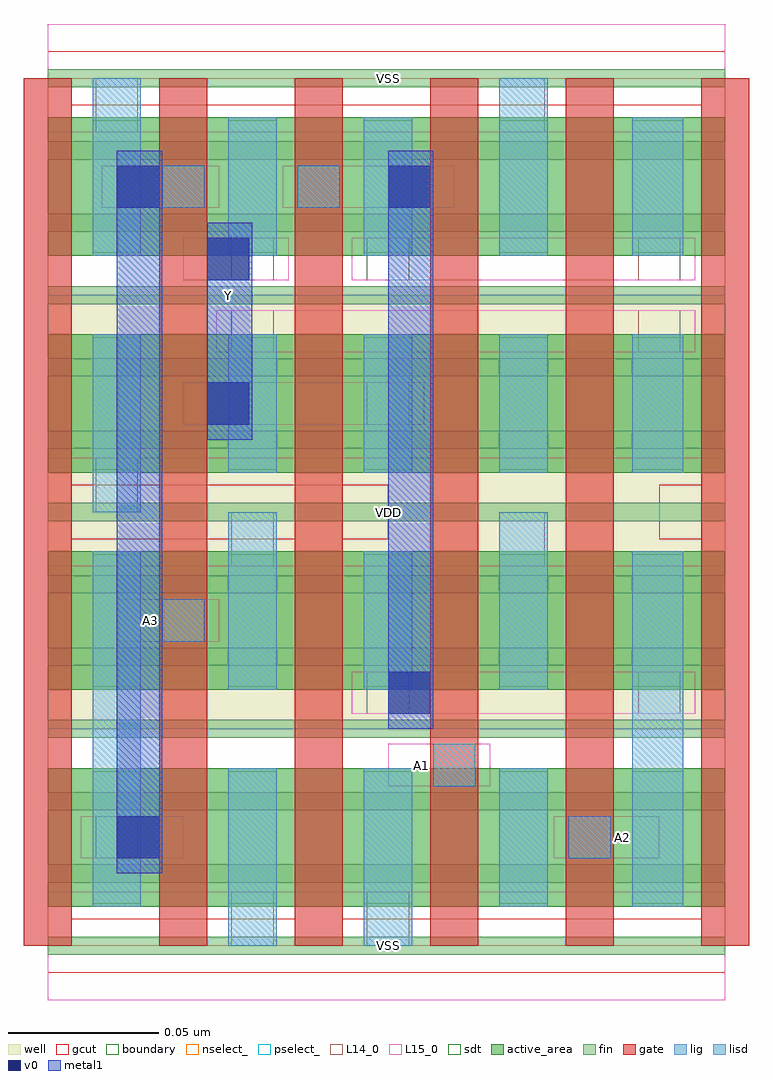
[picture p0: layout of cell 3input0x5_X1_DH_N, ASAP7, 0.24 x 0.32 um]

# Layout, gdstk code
import gdstk
lib = gdstk.Library(unit=1e-6, precision=1e-09)
def R(c, l, rs):  # rectangles x0, y0, x1, y1
    for r in rs: c.add(gdstk.rectangle(r[:2], r[2:], *l))
def A(c, l, x, y, w, h, nx, ny, dx, dy):  # array of equal rectangles
    R(c, l, [(x+i*dx, y+j*dy, x+i*dx+w, y+j*dy+h) for i in range(nx) for j in range(ny)])
def P(c, l, *ps):  # polygons
    for p in ps: c.add(gdstk.Polygon(p, *l))
well = (1, 0)
fin = (2, 0)
gate = (7, 0)
gcut = (10, 0)
active_area = (11, 0)
nselect_ = (12, 0)
pselect_ = (13, 0)
L14_0 = (14, 0)
L15_0 = (15, 0)
lig = (16, 0)
lisd = (17, 0)
v0 = (18, 0)
metal1 = (19, 0)
sdt = (88, 0)
boundary = (100, 0)

c_3input0x5_x1_dh_n = lib.new_cell('3input0x5_X1_DH_N')
R(c_3input0x5_x1_dh_n, well, [(0,0.072,0.225,0.144), (0,0.144,0.225,0.216)])
A(c_3input0x5_x1_dh_n, fin, 0, -0.003, 0.225, 0.006, 1, 13, 0, 0.024)
A(c_3input0x5_x1_dh_n, gate, -0.008, 0, 0.016, 0.288, 6, 1, 0.045, 0)
P(c_3input0x5_x1_dh_n, gcut, [(0,-0.009),(0,0),(-0.008,0),(-0.008,0.135),(0.008,0.135),(0.008,0.009),(0.082,0.009),(0.082,0.135),(-0.008,0.135),(-0.008,0.279),(0.008,0.279),(0.008,0.153),(0.113,0.153),(0.113,0.135),(0.098,0.135),(0.098,0.009),(0.217,0.009),(0.217,0.135),(0.203,0.135),(0.203,0.153),(0.217,0.153),(0.217,0.279),(-0.008,0.279),(-0.008,0.288),(0,0.288),(0,0.297),(0.225,0.297),(0.225,0.288),(0.233,0.288),(0.233,0),(0.225,0),(0.225,-0.009)])
A(c_3input0x5_x1_dh_n, active_area, 0, 0.013, 0.225, 0.046, 1, 4, 0, 0.072)
R(c_3input0x5_x1_dh_n, nselect_, [(0,0,0.225,0.072), (0,0.216,0.225,0.288)])
R(c_3input0x5_x1_dh_n, pselect_, [(0,0.072,0.225,0.144), (0,0.144,0.225,0.216)])
R(c_3input0x5_x1_dh_n, L14_0, [(0.061,0,0.075,0.018), (0.106,0,0.12,0.018), (0.016,0.029,0.03,0.043), (0.173,0.029,0.187,0.043), (0.128,0.053,0.142,0.067), (0.106,0.077,0.12,0.091), (0.196,0.077,0.21,0.091), (0.038,0.101,0.052,0.115), (0.061,0.126,0.075,0.144), (0.15,0.126,0.165,0.144), (0.016,0.144,0.03,0.162), (0.106,0.173,0.12,0.187), (0.061,0.197,0.075,0.211), (0.196,0.197,0.21,0.211), (0.061,0.221,0.075,0.235), (0.106,0.221,0.12,0.235), (0.196,0.221,0.21,0.235), (0.038,0.245,0.052,0.259), (0.083,0.245,0.097,0.259), (0.016,0.27,0.03,0.288), (0.15,0.27,0.165,0.288)])
A(c_3input0x5_x1_dh_n, L15_0, 0, -0.018, 0.225, 0.036, 1, 3, 0, 0.144)
R(c_3input0x5_x1_dh_n, L15_0, [(0.011,0.029,0.045,0.043), (0.168,0.029,0.203,0.043), (0.113,0.053,0.147,0.067), (0.101,0.077,0.215,0.091), (0.023,0.101,0.057,0.115), (0.045,0.173,0.125,0.187), (0.056,0.197,0.215,0.211), (0.045,0.221,0.08,0.235), (0.101,0.221,0.215,0.235), (0.018,0.245,0.057,0.259), (0.078,0.245,0.135,0.259)])
R(c_3input0x5_x1_dh_n, lig, [(0.173,0.029,0.187,0.043), (0.128,0.053,0.142,0.067), (0.038,0.101,0.052,0.115), (0.038,0.245,0.052,0.259), (0.083,0.245,0.097,0.259)])
A(c_3input0x5_x1_dh_n, lisd, 0.06, 0.157, 0.016, 0.046, 3, 1, 0.045, 0)
R(c_3input0x5_x1_dh_n, lisd, [(0.06,0,0.076,0.059), (0.105,0,0.121,0.059), (0.015,0.013,0.031,0.131), (0.15,0.013,0.166,0.059), (0.194,0.013,0.211,0.131), (0.06,0.085,0.076,0.144), (0.105,0.085,0.121,0.131), (0.15,0.085,0.166,0.144), (0.015,0.144,0.031,0.203), (0.194,0.157,0.211,0.203), (0.015,0.229,0.031,0.288), (0.06,0.229,0.076,0.275), (0.105,0.229,0.121,0.275), (0.15,0.229,0.166,0.288), (0.194,0.229,0.211,0.275)])
R(c_3input0x5_x1_dh_n, v0, [(0.023,0.029,0.037,0.043), (0.113,0.077,0.127,0.091), (0.053,0.173,0.067,0.187), (0.053,0.221,0.067,0.235), (0.023,0.245,0.037,0.259), (0.113,0.245,0.127,0.259)])
R(c_3input0x5_x1_dh_n, metal1, [(0.023,0.024,0.038,0.264), (0.113,0.072,0.128,0.264), (0.053,0.168,0.068,0.24)])
A(c_3input0x5_x1_dh_n, sdt, 0.015, 0.014, 0.016, 0.044, 4, 4, 0.045, 0.072)
A(c_3input0x5_x1_dh_n, sdt, 0.194, 0.014, 0.017, 0.044, 1, 4, 0, 0.072)
R(c_3input0x5_x1_dh_n, boundary, [(0,0,0.225,0.288)])
c_3input0x5_x1_dh_n.add(gdstk.Label('A1', (0.124,0.06), layer=15, texttype=251))
c_3input0x5_x1_dh_n.add(gdstk.Label('VSS', (0.113,0), layer=15, texttype=251))
c_3input0x5_x1_dh_n.add(gdstk.Label('VDD', (0.113,0.144), layer=15, texttype=251))
c_3input0x5_x1_dh_n.add(gdstk.Label('VDD', (0.113,0.144), layer=15, texttype=251))
c_3input0x5_x1_dh_n.add(gdstk.Label('VSS', (0.113,0.288), layer=15, texttype=251))
c_3input0x5_x1_dh_n.add(gdstk.Label('A2', (0.191,0.036), layer=15, texttype=251))
c_3input0x5_x1_dh_n.add(gdstk.Label('VSS', (0.113,0), layer=15, texttype=251))
c_3input0x5_x1_dh_n.add(gdstk.Label('VDD', (0.113,0.144), layer=15, texttype=251))
c_3input0x5_x1_dh_n.add(gdstk.Label('VDD', (0.113,0.144), layer=15, texttype=251))
c_3input0x5_x1_dh_n.add(gdstk.Label('VSS', (0.113,0.288), layer=15, texttype=251))
c_3input0x5_x1_dh_n.add(gdstk.Label('A3', (0.034,0.108), layer=15, texttype=251))
c_3input0x5_x1_dh_n.add(gdstk.Label('VSS', (0.113,0), layer=15, texttype=251))
c_3input0x5_x1_dh_n.add(gdstk.Label('VDD', (0.113,0.144), layer=15, texttype=251))
c_3input0x5_x1_dh_n.add(gdstk.Label('VDD', (0.113,0.144), layer=15, texttype=251))
c_3input0x5_x1_dh_n.add(gdstk.Label('VSS', (0.113,0.288), layer=15, texttype=251))
c_3input0x5_x1_dh_n.add(gdstk.Label('VSS', (0.113,0), layer=15, texttype=251))
c_3input0x5_x1_dh_n.add(gdstk.Label('VDD', (0.113,0.144), layer=15, texttype=251))
c_3input0x5_x1_dh_n.add(gdstk.Label('VDD', (0.113,0.144), layer=15, texttype=251))
c_3input0x5_x1_dh_n.add(gdstk.Label('VSS', (0.113,0.288), layer=15, texttype=251))
c_3input0x5_x1_dh_n.add(gdstk.Label('VSS', (0.113,0), layer=3, texttype=251))
c_3input0x5_x1_dh_n.add(gdstk.Label('VSS', (0.113,0.288), layer=3, texttype=251))
c_3input0x5_x1_dh_n.add(gdstk.Label('VSS', (0.113,0), layer=3, texttype=251))
c_3input0x5_x1_dh_n.add(gdstk.Label('VSS', (0.113,0.288), layer=3, texttype=251))
c_3input0x5_x1_dh_n.add(gdstk.Label('VSS', (0.113,0), layer=3, texttype=251))
c_3input0x5_x1_dh_n.add(gdstk.Label('VSS', (0.113,0.288), layer=3, texttype=251))
c_3input0x5_x1_dh_n.add(gdstk.Label('VSS', (0.113,0), layer=3, texttype=251))
c_3input0x5_x1_dh_n.add(gdstk.Label('VSS', (0.113,0.288), layer=3, texttype=251))
c_3input0x5_x1_dh_n.add(gdstk.Label('VDD', (0.113,0.144), layer=1, texttype=251))
c_3input0x5_x1_dh_n.add(gdstk.Label('VDD', (0.113,0.144), layer=1, texttype=251))
c_3input0x5_x1_dh_n.add(gdstk.Label('VDD', (0.113,0.144), layer=1, texttype=251))
c_3input0x5_x1_dh_n.add(gdstk.Label('VDD', (0.113,0.144), layer=1, texttype=251))
c_3input0x5_x1_dh_n.add(gdstk.Label('VDD', (0.113,0.144), layer=1, texttype=251))
c_3input0x5_x1_dh_n.add(gdstk.Label('VDD', (0.113,0.144), layer=1, texttype=251))
c_3input0x5_x1_dh_n.add(gdstk.Label('VDD', (0.113,0.144), layer=1, texttype=251))
c_3input0x5_x1_dh_n.add(gdstk.Label('VDD', (0.113,0.144), layer=1, texttype=251))
c_3input0x5_x1_dh_n.add(gdstk.Label('Y', (0.06,0.216), layer=19, texttype=251))

lib.write_gds('3input0x5_X1_DH_N.gds')
